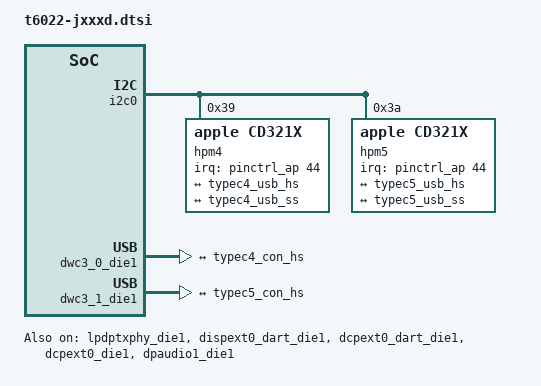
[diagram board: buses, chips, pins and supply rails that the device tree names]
// SPDX-License-Identifier: GPL-2.0+ OR MIT
/*
 * Mac Pro (M2 Ultra, 2023) and Mac Studio (M2 Ultra, 2023)
 *
 * This file contains the parts common to J180 and J475 devices with t6022.
 *
 * target-type: J180d / J475d
 *
 * Copyright The Asahi Linux Contributors
 */

/ {
	aliases {
		dcpext4 = &dcpext0_die1;
		disp0 = &display;
		sio1 = &sio_die1;
	};
};

&lpdptxphy_die1 {
	status = "okay";
};

&display {
	iommus = <&dispext0_dart_die1 0>;
};

&dispext0_dart_die1 {
	status = "okay";
};

&dcpext0_dart_die1 {
	status = "okay";
};

&dcpext0_mbox_die1 {
	status = "okay";
};

&dcpext0_die1 {
	status = "okay";
	apple,connector-type = "HDMI-A";

	/*  HDMI HPD gpio, used as interrupt*/
	hdmi-hpd-gpios = <&pinctrl_aop 41 GPIO_ACTIVE_HIGH>;

	hdmi-pwren-gpios = <&smc_gpio 23 GPIO_ACTIVE_HIGH>;
	// J180 misses "function-dp2hdmi_pwr_en"
	// dp2hdmi-pwren-gpios = <&smc_gpio 25 GPIO_ACTIVE_HIGH>;

	phys = <&lpdptxphy_die1>;
	phy-names = "dp-phy";
	apple,dptx-phy = <4>;
	apple,dptx-die = <1>;
};

&dpaudio1_die1 {
	status = "okay";
};

/* delete missing dcp0/disp0 */

/delete-node/ &disp0_dart;
/delete-node/ &dcp_dart;
/delete-node/ &dcp_mbox;
/delete-node/ &dcp;
/delete-node/ &dpaudio0;

/* delete unused always-on power-domains */
/delete-node/ &ps_disp0_cpu0;
/delete-node/ &ps_disp0_fe;

/delete-node/ &ps_disp0_cpu0_die1;
/delete-node/ &ps_disp0_fe_die1;


/* USB Type C */
&i2c0 {
	/* front-right */
	hpm4: usb-pd@39 {
		compatible = "apple,cd321x";
		reg = <0x39>;
		interrupt-parent = <&pinctrl_ap>;
		interrupts = <44 IRQ_TYPE_LEVEL_LOW>;
		interrupt-names = "irq";

		typec4: connector {
			compatible = "usb-c-connector";
			power-role = "dual";
			data-role = "dual";

			ports {
				#address-cells = <1>;
				#size-cells = <0>;
				port@0 {
					reg = <0>;
					typec4_con_hs: endpoint {
						remote-endpoint = <&typec4_usb_hs>;
					};
				};
				port@1 {
					reg = <1>;
					typec4_con_ss: endpoint {
						remote-endpoint = <&typec4_usb_ss>;
					};
				};
			};
		};
	};

	/* front-left */
	hpm5: usb-pd@3a {
		compatible = "apple,cd321x";
		reg = <0x3a>;
		interrupt-parent = <&pinctrl_ap>;
		interrupts = <44 IRQ_TYPE_LEVEL_LOW>;
		interrupt-names = "irq";

		typec5: connector {
			compatible = "usb-c-connector";
			power-role = "dual";
			data-role = "dual";

			ports {
				#address-cells = <1>;
				#size-cells = <0>;
				port@0 {
					reg = <0>;
					typec5_con_hs: endpoint {
						remote-endpoint = <&typec5_usb_hs>;
					};
				};
				port@1 {
					reg = <1>;
					typec5_con_ss: endpoint {
						remote-endpoint = <&typec5_usb_ss>;
					};
				};
			};
		};
	};
};

/* USB controllers on die 1 */
&dwc3_0_die1 {
	port {
		typec4_usb_hs: endpoint {
			remote-endpoint = <&typec4_con_hs>;
		};
	};
};

&dwc3_1_die1 {
	port {
		typec5_usb_hs: endpoint {
			remote-endpoint = <&typec5_con_hs>;
		};
	};
};

/* Type-C PHYs */
&atcphy0_die1 {
	port {
		typec4_usb_ss: endpoint {
			remote-endpoint = <&typec4_con_ss>;
		};
	};
};

&atcphy1_die1 {
	port {
		typec5_usb_ss: endpoint {
			remote-endpoint = <&typec5_con_ss>;
		};
	};
};
